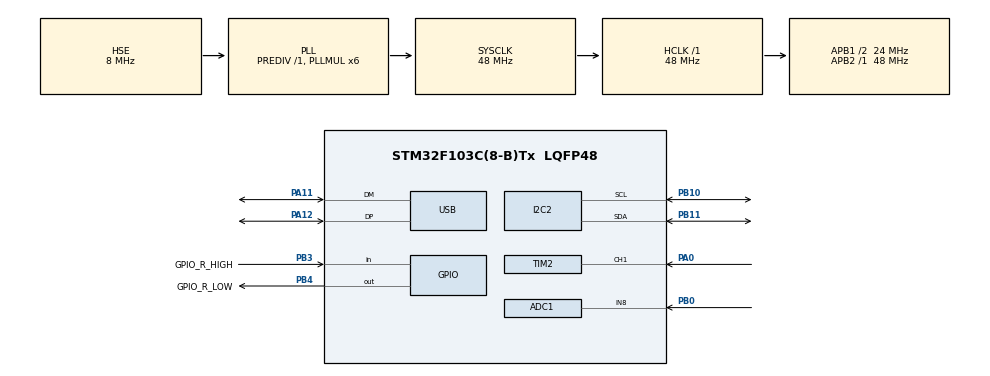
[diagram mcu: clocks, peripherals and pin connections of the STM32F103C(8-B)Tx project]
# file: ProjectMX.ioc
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ADC1.Channel-2\#ChannelRegularConversion=ADC_CHANNEL_8
ADC1.NbrOfConversionFlag=1
ADC1.Rank-2\#ChannelRegularConversion=1
ADC1.SamplingTime-2\#ChannelRegularConversion=ADC_SAMPLETIME_1CYCLE_5
ADC1.master=1
Mcu.Family=STM32F1
Mcu.Name=STM32F103C(8-B)Tx
Mcu.Package=LQFP48
NVIC.PriorityGroup=NVIC_PRIORITYGROUP_4
NVIC.USB_LP_CAN1_RX0_IRQn=true\:0\:0\:false\:false\:true\:false\:true\:true
PA0-WKUP.Signal=S_TIM2_CH1_ETR
PA11.Mode=Device
PA11.Signal=USB_DM
PA12.Mode=Device
PA12.Signal=USB_DP
PA13.Mode=Serial_Wire
PA13.Signal=SYS_JTMS-SWDIO
PA14.Mode=Serial_Wire
PA14.Signal=SYS_JTCK-SWCLK
PB0.Signal=ADCx_IN8
PB10.Mode=I2C
PB10.Signal=I2C2_SCL
PB11.Mode=I2C
PB11.Signal=I2C2_SDA
PB3.GPIO_Label=GPIO_R_HIGH
PB3.Signal=GPIO_Input
PB4.GPIO_Label=GPIO_R_LOW
PB4.Signal=GPIO_Output
PD0-OSC_IN.Mode=HSE-External-Oscillator
PD0-OSC_IN.Signal=RCC_OSC_IN
PD1-OSC_OUT.Mode=HSE-External-Oscillator
PD1-OSC_OUT.Signal=RCC_OSC_OUT
ProjectManager.HeapSize=0x200
ProjectManager.StackSize=0x400
ProjectManager.TargetToolchain=CMake
RCC.ADCPresc=RCC_ADCPCLK2_DIV4
RCC.AHBFreq_Value=48000000
RCC.APB1CLKDivider=RCC_HCLK_DIV2
RCC.APB1Freq_Value=24000000
RCC.APB1TimFreq_Value=48000000
RCC.APB2Freq_Value=48000000
RCC.APB2TimFreq_Value=48000000
RCC.HCLKFreq_Value=48000000
RCC.PLLMUL=RCC_PLL_MUL6
RCC.SYSCLKFreq_VALUE=48000000
RCC.SYSCLKSource=RCC_SYSCLKSOURCE_PLLCLK
RCC.USBFreq_Value=48000000
SH.ADCx_IN8.0=ADC1_IN8,IN8
SH.S_TIM2_CH1_ETR.0=TIM2_CH1,Input_Capture1_from_TI1
TIM2.Channel-Input_Capture1_from_TI1=TIM_CHANNEL_1
TIM2.Period=62499
TIM2.Prescaler=575
USB_DEVICE.CLASS_NAME_FS=CDC
USB_DEVICE.VirtualMode=Cdc
USB_DEVICE.VirtualModeFS=Cdc_FS
VP_TIM2_VS_ClockSourceINT.Mode=Internal
VP_USB_DEVICE_VS_USB_DEVICE_CDC_FS.Mode=CDC_FS
board=custom

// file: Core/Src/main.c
/* USER CODE BEGIN Header */
/**
  ******************************************************************************
  * @file           : main.c
  * @brief          : Main program body
  ******************************************************************************
  * @attention
  *
  * Copyright (c) 2026 STMicroelectronics.
  * All rights reserved.
  *
  * This software is licensed under terms that can be found in the LICENSE file
  * in the root directory of this software component.
  * If no LICENSE file comes with this software, it is provided AS-IS.
  *
  ******************************************************************************
  */
/* USER CODE END Header */
#include "main.h"
#include "stm32f1xx_hal.h"
#include "usb_device.h"

/* USER CODE BEGIN Includes */
#include <stdio.h>
#include <stdint.h>
#include <string.h>
#include "usbd_cdc_if.h"
#include "i2c-lcd.h"
/* USER CODE END Includes */

/* USER CODE BEGIN PD */
#define LCD16xN			// For 16xN LCDs
#define TICK_US 8UL // unsigned long
#define ADC_63PCT 2593U // 63% of 3.3V unsigned int

/* Resistors */
#define R_HIGH 100000UL // 100 kohm — small capacitors
#define R_LOW  1000UL   // 1 kohm — large capacitors

/* USER CODE END PD */

ADC_HandleTypeDef hadc1;

I2C_HandleTypeDef hi2c2;

TIM_HandleTypeDef htim2;

/* USER CODE BEGIN PV */
uint8_t rxData;
char * txMessage = "Hello from STM32!\r\n";

/* RC measurement */
static uint32_t cap_pF  = 0;     // result of measurement
static uint8_t  use_low_r = 0;   // 0 = 1Mohm, 1 = 10kohm
static uint8_t  meas_error = 0;
/* USER CODE END PV */

void SystemClock_Config(void);
static void MX_GPIO_Init(void);
static void MX_ADC1_Init(void);
static void MX_I2C2_Init(void);
static void MX_TIM2_Init(void);

/* USER CODE BEGIN 0 */
static void discharge_cap(void)
{
    /* Drive both resistor paths low to discharge through whichever is wired */
    HAL_GPIO_WritePin(GPIO_R_HIGH_GPIO_Port, GPIO_R_HIGH_Pin, GPIO_PIN_RESET);
    HAL_GPIO_WritePin(GPIO_R_LOW_GPIO_Port,  GPIO_R_LOW_Pin,  GPIO_PIN_RESET);

    /* 5 * R_low * C_max = 5 * 10k * 100uF = 5s was the first method but took too long */
    /* New way: trying to dynamically wait till the ADC reaches 63% instead of hardcoding */
    uint32_t adc_val;
    uint32_t timeout = HAL_GetTick() + 6000; // 6 seconds timeout should suffice

    do
    {
        HAL_ADC_Start(&hadc1);
        HAL_ADC_PollForConversion(&hadc1, 1);
        adc_val = HAL_ADC_GetValue(&hadc1);
    } while (adc_val > 41 && HAL_GetTick() < timeout); // wait until capacitor is discharged below 63% of 3.3V

}

static uint32_t measure_capacitance(void)
{
    uint32_t ticks;
    uint32_t adc_val;
    uint32_t R_used;

    const uint32_t MAX_OVERFLOWS = 10; // trying to count max overflows before sampling ADC

    meas_error = 0;
    use_low_r = 0;

    // discharge_cap(); // Doing discharge first for time saving, since large capacitor values take longer to charge than to discharge

    retry_with_low_r: // label for retry when goto is called
    R_used = use_low_r ? R_LOW : R_HIGH;
    uint32_t tim_overflow = 0;

    /* Charge capacitor */
    __HAL_TIM_SET_COUNTER(&htim2, 0); // reset timer count
    __HAL_TIM_CLEAR_FLAG(&htim2, TIM_FLAG_UPDATE); // clear overflow flag
    HAL_TIM_Base_Start(&htim2);

    if (use_low_r)
    {   /* sets 1 kohm */
        HAL_GPIO_WritePin(GPIO_R_LOW_GPIO_Port,  GPIO_R_LOW_Pin,  GPIO_PIN_SET);
        HAL_GPIO_WritePin(GPIO_R_HIGH_GPIO_Port, GPIO_R_HIGH_Pin, GPIO_PIN_RESET);
    } else
    {   /* sets 100 kohm */
        HAL_GPIO_WritePin(GPIO_R_HIGH_GPIO_Port, GPIO_R_HIGH_Pin, GPIO_PIN_SET);
        HAL_GPIO_WritePin(GPIO_R_LOW_GPIO_Port,  GPIO_R_LOW_Pin,  GPIO_PIN_RESET);
    }

    /* ADC overflow */
    // tim_overflow = 0; // overflow reset
    do
    {
        HAL_ADC_Start(&hadc1);
        HAL_ADC_PollForConversion(&hadc1, 1);
        adc_val = HAL_ADC_GetValue(&hadc1);

        if (__HAL_TIM_GET_FLAG(&htim2, TIM_FLAG_UPDATE))
        {
            //__HAL_TIM_CLEAR_FLAG(&htim2, TIM_FLAG_UPDATE); // clear and keep counting
            tim_overflow++;

            if (!use_low_r)
            {
                use_low_r = 1;
                /* discharge between resistor switch */
                HAL_GPIO_WritePin(GPIO_R_HIGH_GPIO_Port, GPIO_R_HIGH_Pin, GPIO_PIN_RESET);
                HAL_GPIO_WritePin(GPIO_R_LOW_GPIO_Port,  GPIO_R_LOW_Pin,  GPIO_PIN_RESET);
                uint32_t adc_d;
                uint32_t t_out = HAL_GetTick() + 6000;

                do {
                    HAL_ADC_Start(&hadc1);
                    HAL_ADC_PollForConversion(&hadc1, 1);
                    adc_d = HAL_ADC_GetValue(&hadc1);
                } while (adc_d > 41 && HAL_GetTick() < t_out);

                goto retry_with_low_r;
            } else
            {
                meas_error = 1;
                return 0;
            }
        }
      } while (adc_val < ADC_63PCT);

    ticks = tim_overflow * 62500UL + __HAL_TIM_GET_COUNTER(&htim2);
    HAL_TIM_Base_Stop(&htim2);

    /* Finish capacitor charging */
    HAL_GPIO_WritePin(GPIO_R_HIGH_GPIO_Port, GPIO_R_HIGH_Pin, GPIO_PIN_RESET);
    HAL_GPIO_WritePin(GPIO_R_LOW_GPIO_Port,  GPIO_R_LOW_Pin,  GPIO_PIN_RESET);

    uint32_t t_us = ticks * TICK_US;
    // C = t / (R * ln(1/(1-0.63))) ≈ t / (R * 0.994)
    // C_pF = (t_us * 1e-6) / (R * 0.994) * 1e12 = t_us * 1e6 / (R * 0.994)
    uint32_t C_pF = (uint32_t)(( (uint64_t)t_us * 1000000ULL * 1000ULL ) / ( (uint64_t)R_used * 994ULL ));

    return C_pF;
}

/* simple algorithm for reformating */
static void format_cap(uint32_t pF, char *buf, size_t len)
{
    if (pF >= 1000000) {
        uint32_t whole = pF / 1000000;
        uint32_t frac = ((pF % 1000000) * 100) / 1000000;
        snprintf(buf, len, "%lu.%02lu uF", whole, frac);
    } else if (pF >= 1000) {
        uint32_t whole = pF / 1000;
        uint32_t frac = ((pF % 1000) * 100) / 1000;
        snprintf(buf, len, "%lu.%02lu nF", whole, frac);
    } else {
        snprintf(buf, len, "%lu pF", pF);
    }
}
/* USER CODE END 0 */

int main(void)
{

  /* MCU Configuration--------------------------------------------------------*/

  /* Reset of all peripherals, Initializes the Flash interface and the Systick. */
   HAL_Init();

  /* Configure the system clock */
  SystemClock_Config();

  /* Initialize all configured peripherals */
  MX_GPIO_Init();
  MX_ADC1_Init();
  MX_I2C2_Init();
  MX_TIM2_Init();
  MX_USB_DEVICE_Init();
  /* USER CODE BEGIN 2 */
  HAL_Delay(10000); // time for LCD init
  lcd_init();

  /* No JTAG*/
  __HAL_RCC_AFIO_CLK_ENABLE();
  __HAL_AFIO_REMAP_SWJ_NOJTAG();

  /* Built in FSM with switch(case) statement state names */
  typedef enum {
    STATE_DISCHARGE,
    STATE_CHARGE
  } MeasState;

  MeasState state = STATE_DISCHARGE;
  uint32_t last_display_tick = 0;
  uint8_t last_r = 0;

  /* USER CODE END 2 */

  /* Infinite loop */
  /* USER CODE BEGIN WHILE */
  while (1)
  {
    /* FSM for capacitance measurement states */
    switch (state)
    {
        case STATE_DISCHARGE:
        {
            HAL_GPIO_WritePin(GPIO_R_HIGH_GPIO_Port, GPIO_R_HIGH_Pin, GPIO_PIN_RESET);
            HAL_GPIO_WritePin(GPIO_R_LOW_GPIO_Port,  GPIO_R_LOW_Pin,  GPIO_PIN_RESET);

            HAL_ADC_Start(&hadc1);
            HAL_ADC_PollForConversion(&hadc1, 1);
            uint32_t adc_val = HAL_ADC_GetValue(&hadc1);

            /* small mandatory wait that prevents false ready on floating ADC */
            static uint32_t discharge_start = 0;
            if (discharge_start == 0) discharge_start = HAL_GetTick();

            /* at least 50 ms wait time before STATE_CHARGE */
            if (adc_val <= 41 && (HAL_GetTick() - discharge_start) >= 50)
            {
                discharge_start = 0; // reset for next cycle
                state = STATE_CHARGE;
            }
            break;
        }

        case STATE_CHARGE:
        {
            cap_pF = measure_capacitance(); /* still blocking but discharge is done */
            last_r = use_low_r; // without this the lcd and usb display 10kOhms

            if (cap_pF == 0 && !meas_error) meas_error = 1; // if no error but zero result, then it is an error
            state = STATE_DISCHARGE;
            break;
        }

        default:
            state = STATE_DISCHARGE;
            break;
    }
    /* Update display every 500 ms */
    if (HAL_GetTick() - last_display_tick >= 500)
    {
      last_display_tick = HAL_GetTick();

      char cap_str[16];
      /* Saugiklis capacitor measurement */
      if (meas_error) snprintf(cap_str, sizeof(cap_str), "ERROR");
      else format_cap(cap_pF, cap_str, sizeof(cap_str));

      /* LCD lib */
      char lcd_line1[17], lcd_line2[17];
      snprintf(lcd_line1, sizeof(lcd_line1), "C=%-13s", cap_str);
      snprintf(lcd_line2, sizeof(lcd_line2), "R=%-13s", last_r ? "1k" : "100k");
      lcd_put_cur(0, 0); lcd_send_string(lcd_line1);
      lcd_put_cur(1, 0); lcd_send_string(lcd_line2);

      static char usb_buf[64];
      snprintf(usb_buf, sizeof(usb_buf), "C=%s,R=%s\r\n", cap_str, last_r ? "1k" : "100k");

      HAL_Delay(500); // delay to make period of display 1s instead of 0,5 s
      CDC_Transmit_FS((uint8_t*)usb_buf, strlen(usb_buf));
    }
    /* USER CODE END WHILE */

  }
}

void SystemClock_Config(void)
{
  RCC_OscInitTypeDef RCC_OscInitStruct = {0};
  RCC_ClkInitTypeDef RCC_ClkInitStruct = {0};
  RCC_PeriphCLKInitTypeDef PeriphClkInit = {0};

  /** Initializes the RCC Oscillators according to the specified parameters
  * in the RCC_OscInitTypeDef structure.
  */
  RCC_OscInitStruct.OscillatorType = RCC_OSCILLATORTYPE_HSE;
  RCC_OscInitStruct.HSEState = RCC_HSE_ON;
  RCC_OscInitStruct.HSEPredivValue = RCC_HSE_PREDIV_DIV1;
  RCC_OscInitStruct.HSIState = RCC_HSI_ON;
  RCC_OscInitStruct.PLL.PLLState = RCC_PLL_ON;
  RCC_OscInitStruct.PLL.PLLSource = RCC_PLLSOURCE_HSE;
  RCC_OscInitStruct.PLL.PLLMUL = RCC_PLL_MUL6;
  if (HAL_RCC_OscConfig(&RCC_OscInitStruct) != HAL_OK)
  {
    Error_Handler();
  }

  /** Initializes the CPU, AHB and APB buses clocks
  */
  RCC_ClkInitStruct.ClockType = RCC_CLOCKTYPE_HCLK|RCC_CLOCKTYPE_SYSCLK
                              |RCC_CLOCKTYPE_PCLK1|RCC_CLOCKTYPE_PCLK2;
  RCC_ClkInitStruct.SYSCLKSource = RCC_SYSCLKSOURCE_PLLCLK;
  RCC_ClkInitStruct.AHBCLKDivider = RCC_SYSCLK_DIV1;
  RCC_ClkInitStruct.APB1CLKDivider = RCC_HCLK_DIV2;
  RCC_ClkInitStruct.APB2CLKDivider = RCC_HCLK_DIV1;

  if (HAL_RCC_ClockConfig(&RCC_ClkInitStruct, FLASH_LATENCY_1) != HAL_OK)
  {
    Error_Handler();
  }
  PeriphClkInit.PeriphClockSelection = RCC_PERIPHCLK_ADC|RCC_PERIPHCLK_USB;
  PeriphClkInit.AdcClockSelection = RCC_ADCPCLK2_DIV4;
  PeriphClkInit.UsbClockSelection = RCC_USBCLKSOURCE_PLL;
  if (HAL_RCCEx_PeriphCLKConfig(&PeriphClkInit) != HAL_OK)
  {
    Error_Handler();
  }
}

static void MX_ADC1_Init(void)
{

  ADC_ChannelConfTypeDef sConfig = {0};

  /** Common config
  */
  hadc1.Instance = ADC1;
  hadc1.Init.ScanConvMode = ADC_SCAN_DISABLE;
  hadc1.Init.ContinuousConvMode = DISABLE;
  hadc1.Init.DiscontinuousConvMode = DISABLE;
  hadc1.Init.ExternalTrigConv = ADC_SOFTWARE_START;
  hadc1.Init.DataAlign = ADC_DATAALIGN_RIGHT;
  hadc1.Init.NbrOfConversion = 1;
  if (HAL_ADC_Init(&hadc1) != HAL_OK)
  {
    Error_Handler();
  }

  /** Configure Regular Channel
  */
  sConfig.Channel = ADC_CHANNEL_8;
  sConfig.Rank = ADC_REGULAR_RANK_1;
  sConfig.SamplingTime = ADC_SAMPLETIME_239CYCLES_5; /* changed to longest sample time */
  if (HAL_ADC_ConfigChannel(&hadc1, &sConfig) != HAL_OK)
  {
    Error_Handler();
  }

}

static void MX_I2C2_Init(void)
{

  hi2c2.Instance = I2C2;
  hi2c2.Init.ClockSpeed = 100000;
  hi2c2.Init.DutyCycle = I2C_DUTYCYCLE_2;
  hi2c2.Init.OwnAddress1 = 0;
  hi2c2.Init.AddressingMode = I2C_ADDRESSINGMODE_7BIT;
  hi2c2.Init.DualAddressMode = I2C_DUALADDRESS_DISABLE;
  hi2c2.Init.OwnAddress2 = 0;
  hi2c2.Init.GeneralCallMode = I2C_GENERALCALL_DISABLE;
  hi2c2.Init.NoStretchMode = I2C_NOSTRETCH_DISABLE;
  if (HAL_I2C_Init(&hi2c2) != HAL_OK)
  {
    Error_Handler();
  }

}

static void MX_TIM2_Init(void)
{

  TIM_ClockConfigTypeDef sClockSourceConfig = {0};
  TIM_MasterConfigTypeDef sMasterConfig = {0};
  TIM_IC_InitTypeDef sConfigIC = {0};

  htim2.Instance = TIM2;
  htim2.Init.Prescaler = 575;
  htim2.Init.CounterMode = TIM_COUNTERMODE_UP;
  htim2.Init.Period = 62499;
  htim2.Init.ClockDivision = TIM_CLOCKDIVISION_DIV1;
  htim2.Init.AutoReloadPreload = TIM_AUTORELOAD_PRELOAD_DISABLE;
  if (HAL_TIM_Base_Init(&htim2) != HAL_OK)
  {
    Error_Handler();
  }
  sClockSourceConfig.ClockSource = TIM_CLOCKSOURCE_INTERNAL;
  if (HAL_TIM_ConfigClockSource(&htim2, &sClockSourceConfig) != HAL_OK)
  {
    Error_Handler();
  }
  if (HAL_TIM_IC_Init(&htim2) != HAL_OK)
  {
    Error_Handler();
  }
  sMasterConfig.MasterOutputTrigger = TIM_TRGO_RESET;
  sMasterConfig.MasterSlaveMode = TIM_MASTERSLAVEMODE_DISABLE;
  if (HAL_TIMEx_MasterConfigSynchronization(&htim2, &sMasterConfig) != HAL_OK)
  {
    Error_Handler();
  }
  sConfigIC.ICPolarity = TIM_INPUTCHANNELPOLARITY_RISING;
  sConfigIC.ICSelection = TIM_ICSELECTION_DIRECTTI;
  sConfigIC.ICPrescaler = TIM_ICPSC_DIV1;
  sConfigIC.ICFilter = 0;
  if (HAL_TIM_IC_ConfigChannel(&htim2, &sConfigIC, TIM_CHANNEL_1) != HAL_OK)
  {
    Error_Handler();
  }

}

static void MX_GPIO_Init(void)
{
  GPIO_InitTypeDef GPIO_InitStruct = {0};

  /* GPIO Ports Clock Enable */
  __HAL_RCC_GPIOD_CLK_ENABLE();
  __HAL_RCC_GPIOA_CLK_ENABLE();
  __HAL_RCC_GPIOB_CLK_ENABLE();

  /*Configure GPIO pin Output Level */
  HAL_GPIO_WritePin(GPIO_R_LOW_GPIO_Port, GPIO_R_LOW_Pin, GPIO_PIN_RESET);

  /*Configure GPIO pin : GPIO_R_HIGH_Pin */
  GPIO_InitStruct.Pin = GPIO_R_HIGH_Pin;
  GPIO_InitStruct.Mode = GPIO_MODE_INPUT;
  GPIO_InitStruct.Pull = GPIO_NOPULL;
  HAL_GPIO_Init(GPIO_R_HIGH_GPIO_Port, &GPIO_InitStruct);

  /*Configure GPIO pin : GPIO_R_LOW_Pin */
  GPIO_InitStruct.Pin = GPIO_R_LOW_Pin;
  GPIO_InitStruct.Mode = GPIO_MODE_OUTPUT_PP;
  GPIO_InitStruct.Pull = GPIO_NOPULL;
  GPIO_InitStruct.Speed = GPIO_SPEED_FREQ_LOW;
  HAL_GPIO_Init(GPIO_R_LOW_GPIO_Port, &GPIO_InitStruct);

}

void Error_Handler(void)
{
  __disable_irq();
  while (1)
  {
  }
}
